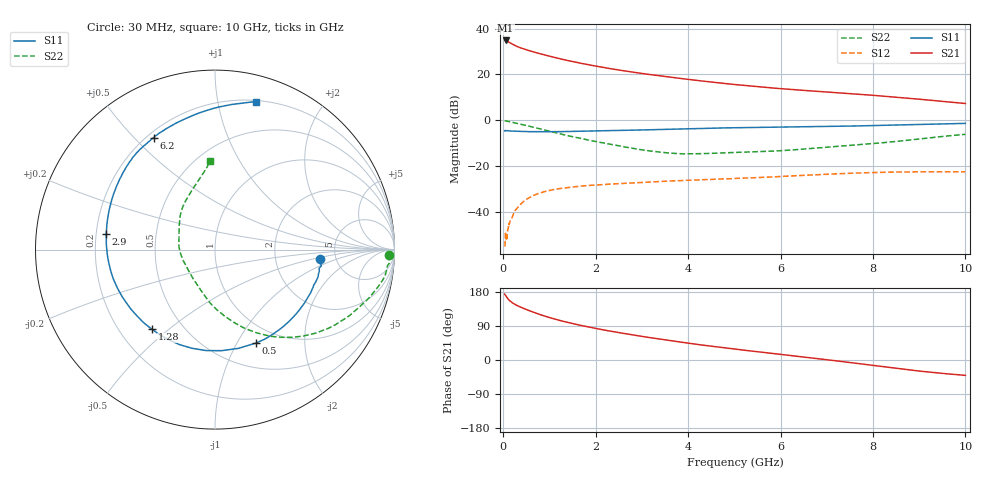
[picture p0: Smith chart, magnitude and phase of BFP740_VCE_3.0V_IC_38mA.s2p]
! Infineon Technologies  Discrete & RF Semiconductors
! BFP740
! VCE =  3.0 V,  IC =  38 mA
! Common Emitter S-Parameters:  Jan 2016
# GHz  S  MA  R  50
!  f  S11  S21  S12  S22
! GHz  MAG  ANG  MAG  ANG  MAG  ANG  MAG  ANG
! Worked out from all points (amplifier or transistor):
!   229 points, 30 MHz to 10 GHz, reference 50 ohm
!   highest |S21| = 34.8 dB at 50 MHz (marker M1)
!   |S21| within 3 dB of that: start of sweep to 344.8 MHz
!   unconditionally stable (mu >= 1): 5.64 GHz to 7.915 GHz; 8.134 GHz to 8.233 GHz
!   at 280 MHz: K = 0.32, MSG = 35.6 dB, |S12| = -38.8 dB
!   at 1.78 GHz: K = 0.55, MSG = 26.5 dB, |S12| = -28.5 dB
!   at 10 GHz: K = 0.98, MSG = 14.9 dB, |S12| = -22.5 dB
!   S11 on the Smith chart (normalised r, x): 30 MHz: 3.78, -0.60; 500 MHz: 0.78, -1.20; 1.28 GHz: 0.34, -0.44; 2.9 GHz: 0.24, +0.07; 6.2 GHz: 0.23, +0.57; 10 GHz: 0.21, +1.29
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0.03  0.59 -5.0  54.84 174.0  0.0018 80.9  0.9697 -1.7
0.05  0.5995 -8.7  54.97 170.5  0.0037 73.8  0.9749 -4.4
0.08  0.5921 -13.1  53.64 164.8  0.0026 69.0  0.961 -7.3
0.115  0.5867 -18.9  50.97 159.6  0.005 79.4  0.9463 -10.7
0.15  0.585 -23.9  48.65 155.5  0.0064 86.9  0.9255 -13.7
0.2  0.5806 -30.9  45.52 150.7  0.0079 79.0  0.9004 -17.3
0.34  0.5732 -48.4  39.08 141.5  0.0135 70.6  0.8358 -26.0
0.5  0.5685 -66.3  34.39 133.3  0.0188 62.6  0.7688 -34.8
0.6  0.5656 -76.6  32.09 128.4  0.0216 58.9  0.727 -39.9
0.8  0.5647 -95.0  28.16 119.7  0.0261 51.9  0.648 -49.0
1.02  0.5644 -111.9  24.68 111.3  0.0299 46.1  0.5687 -57.8
1.28  0.5661 -128.4  21.3 102.6  0.0331 40.5  0.4907 -66.6
1.7  0.5761 -148.9  17.34 90.8  0.0368 34.9  0.3956 -78.4
2.24  0.5933 -169.2  13.77 77.8  0.0401 29.4  0.3103 -92.9
2.9  0.6124 171.7  10.85 64.2  0.0438 25.7  0.2354 -110.6
3.4  0.6293 159.7  9.269 54.9  0.0463 23.2  0.2017 -127.7
4.3  0.6633 141.8  7.187 39.5  0.0507 18.8  0.1875 -161.3
5.1  0.6903 130.3  5.896 27.5  0.0543 16.0  0.2004 176.5
6.2  0.7112 118.8  4.724 12.3  0.0609 12.1  0.2236 153.7
6.8  0.7263 112.0  4.267 3.7  0.0653 8.5  0.2475 143.0
8.4  0.7855 91.0  3.249 -20.3  0.0741 -3.4  0.3372 115.3
10  0.8553 74.6  2.321 -40.6  0.0751 -13.9  0.494 93.1
